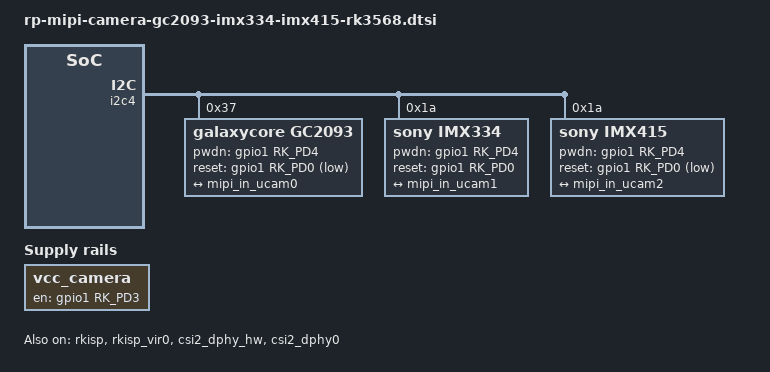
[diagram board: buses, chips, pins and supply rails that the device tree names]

/ {
        vcc_camera: vcc-camera-regulator {
                compatible = "regulator-fixed";
                gpio = <&gpio1 RK_PD3 GPIO_ACTIVE_HIGH>;
                pinctrl-names = "default";
                pinctrl-0 = <&camera_pwr>;
                regulator-name = "vcc_camera";
                enable-active-high;
                regulator-always-on;
                regulator-boot-on;
        };
};

&i2c4 {
        status = "okay";
        gc2093: gc2093@37 {
                compatible = "galaxycore,gc2093";
                status = "okay";
                reg = <0x37>;
                clocks = <&cru CLK_CIF_OUT>;
                clock-names = "xvclk";
                power-domains = <&power RK3568_PD_VI>;
                pinctrl-names = "default";
                pinctrl-0 = <&cif_clk>;
                pwdn-gpios = <&gpio1 RK_PD4 GPIO_ACTIVE_HIGH>;
                reset-gpios = <&gpio1 RK_PD0 GPIO_ACTIVE_LOW>;
                //avdd-supply = <&vcc_avdd>;
                //dovdd-supply = <&vcc_dovdd>;
                //dvdd-supply = <&vcc_dvdd>;
                rockchip,camera-module-index = <0>;
                rockchip,camera-module-facing = "back";
                rockchip,camera-module-name = "YT-RV1109-2-V1";
                rockchip,camera-module-lens-name = "40IR-2MP-F20";
                port {
                        ucam_out0: endpoint {
                                remote-endpoint = <&mipi_in_ucam0>;
                                data-lanes = <1 2>;
                        };
                };
        };
	imx334: imx334@1a {
                compatible = "sony,imx334";
                status = "okay";
                reg = <0x1a>;
                clocks = <&cru CLK_CIF_OUT>;
                clock-names = "xvclk";
                // conflict with csi-ctl-gpios//
                pwdn-gpios = <&gpio1 RK_PD4 GPIO_ACTIVE_HIGH>;
                reset-gpios = <&gpio1 RK_PD0 GPIO_ACTIVE_HIGH>;
		power-domains = <&power RK3568_PD_VI>;
                pinctrl-names = "default";
                pinctrl-0 = <&cif_clk>;
                rockchip,camera-module-index = <0>;
                rockchip,camera-module-facing = "back";
                rockchip,camera-module-name = "CMK-OT1522-FG3";
                rockchip,camera-module-lens-name = "CS-P1150-IRC-8M-FAU";
				
                port {
                        ucam_out1: endpoint {
                                remote-endpoint = <&mipi_in_ucam1>;
                                data-lanes = <1 2 3 4>;
                        };
                };
        };

	imx415: imx415@1a {
                compatible = "sony,imx415";
                status = "okay";
                reg = <0x1a>;
                clocks = <&cru CLK_CIF_OUT>;
                clock-names = "xvclk";
                pwdn-gpios = <&gpio1 RK_PD4 GPIO_ACTIVE_HIGH>;
                reset-gpios = <&gpio1 RK_PD0 GPIO_ACTIVE_LOW>;
		power-domains = <&power RK3568_PD_VI>;
                pinctrl-names = "default";
                pinctrl-0 = <&cif_clk>;
                rockchip,camera-module-index = <0>;
                rockchip,camera-module-facing = "back";
                rockchip,camera-module-name = "CMK-OT1607-FV1";
                rockchip,camera-module-lens-name = "M12-40IRC-4MP-F16";
                port {
                        ucam_out2: endpoint {
                                remote-endpoint = <&mipi_in_ucam2>;
                                data-lanes = <1 2 3 4>;
                        };
                };
        };
	
};


&rkisp {
        status = "okay";
};

&rkisp_mmu {
        status = "okay";
};

&rkisp_vir0 {
        status = "okay";

        port {
                #address-cells = <1>;
                #size-cells = <0>;

                isp0_in: endpoint@0 {
                        reg = <0>;
                        remote-endpoint = <&csidphy_out>;
                };
        };
};

&csi2_dphy_hw {
        status = "okay";
};



&csi2_dphy0 {
        status = "okay";

        ports {
                #address-cells = <1>;
                #size-cells = <0>;
                port@0 {
                        reg = <0>;
                        #address-cells = <1>;
                        #size-cells = <0>;

                        mipi_in_ucam0: endpoint@0 {
                                reg = <0>;
                                remote-endpoint = <&ucam_out0>;
                                data-lanes = <1 2>;
                        };

                        mipi_in_ucam1: endpoint@1 {
                                reg = <1>;
                                remote-endpoint = <&ucam_out1>;
                                data-lanes = <1 2 3 4>;
                        };

                        mipi_in_ucam2: endpoint@2 {
                                reg = <2>;
                                remote-endpoint = <&ucam_out2>;
                                data-lanes = <1 2 3 4>;
                        };
              };
                port@1 {
                        reg = <1>;
                        #address-cells = <1>;
                        #size-cells = <0>;

                        csidphy_out: endpoint@0 {
                                reg = <0>;
                                remote-endpoint = <&isp0_in>;
                        };
                };
        };
};


&pinctrl {
        cam {
                camera_pwr: camera-pwr {
                        rockchip,pins =
                                /* camera power en */
                                <1 RK_PD3 RK_FUNC_GPIO &pcfg_pull_none>;
                };
        };
};
